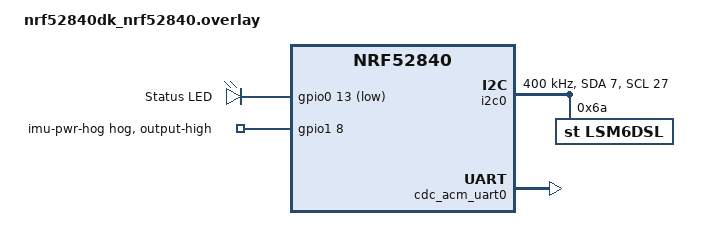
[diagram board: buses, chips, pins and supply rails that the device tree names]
/*
 * Device tree overlay for Seeed XIAO nRF52840 Sense
 *
 * Pin sources:
 *   i2c0 SDA=P0.07 SCL=P0.27 — from zephyrproject-rtos/zephyr
 *       boards/seeed/xiao_ble/xiao_ble-pinctrl.dtsi
 *   IMU power P1.08 — from Seeed schematic
 *   GPIO hog: drives P1.08 high at GPIO init (before I2C and sensor drivers)
 *   H0H1 drive via extra-flags = <NRF_GPIO_DRIVE_H0H1> removed (Zephyr 2.7 unsupported)
 *   buttons removed: P0.27 is I2C SCL, P0.11 is INT1
 */

/ {
    leds {
        compatible = "gpio-leds";
        led_status: led_0 {
            gpios = <&gpio0 13 GPIO_ACTIVE_LOW>;
            label = "Status LED";
        };
    };
};

&gpio1 {
    imu-pwr-hog {
        gpio-hog;
        gpios = <8 GPIO_ACTIVE_HIGH>;
        output-high;
    };
};

&i2c0 {
    compatible = "nordic,nrf-twim";
    status = "okay";
    sda-pin = <7>;
    scl-pin = <27>;
    clock-frequency = <400000>;

    lsm6dso: lsm6ds3tr_c@6a {
        compatible = "st,lsm6dsl";
        reg = <0x6a>;
        status = "okay";
        label = "LSM6DSL";
    };
};

&zephyr_udc0 {
    cdc_acm_uart0: cdc_acm_uart0 {
        compatible = "zephyr,cdc-acm-uart";
        label = "CDC_ACM_0";
    };
};
